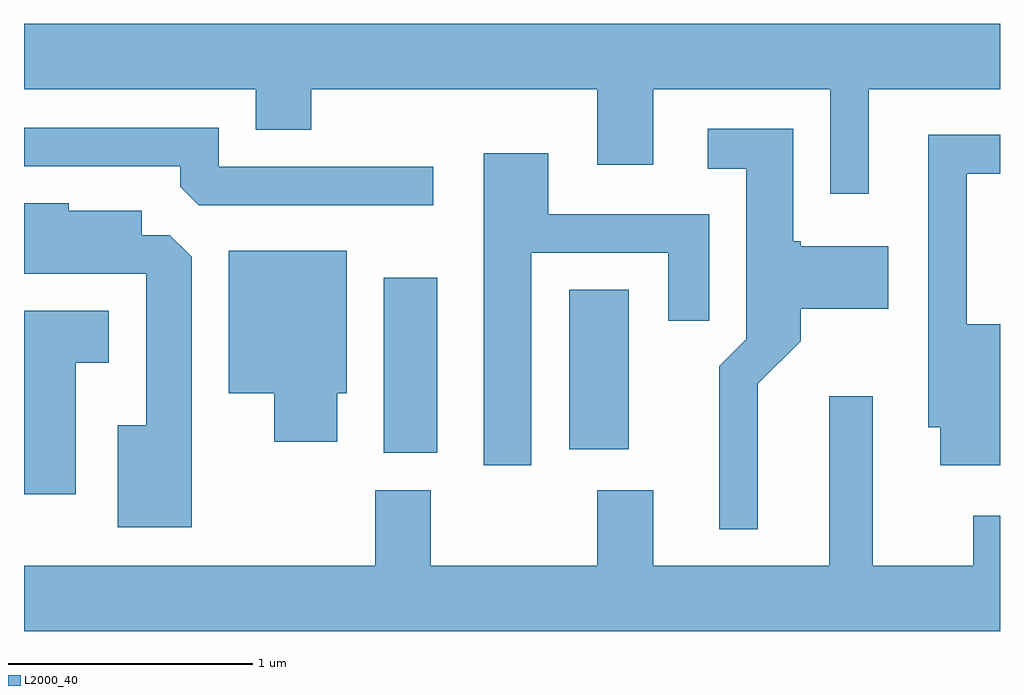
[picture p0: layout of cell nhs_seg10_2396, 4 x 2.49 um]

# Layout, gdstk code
import gdstk
lib = gdstk.Library(unit=1e-6, precision=1e-09)
def R(c, l, rs):  # rectangles x0, y0, x1, y1
    for r in rs: c.add(gdstk.rectangle(r[:2], r[2:], *l))
def P(c, l, *ps):  # polygons
    for p in ps: c.add(gdstk.Polygon(p, *l))
L2000_40 = (2000, 40)

nhs_seg10_2396 = lib.new_cell('nhs_seg10_2396')
R(nhs_seg10_2396, L2000_40, [(257.086,2127.966,257.304,2128.684), (257.846,2127.981,258.089,2128.634)])
P(nhs_seg10_2396, L2000_40, [(259.074,2129.456),(259.611,2129.456),(259.611,2129.724),(255.611,2129.724),(255.611,2129.456),(256.561,2129.456),(256.561,2129.291),(256.789,2129.291),(256.789,2129.456),(257.961,2129.456),(257.961,2129.146),(258.189,2129.146),(258.189,2129.456),(258.916,2129.456),(258.916,2129.028),(259.074,2129.028)],
  [(257.288,2129.139),(256.409,2129.139),(256.409,2129.299),(255.611,2129.299),(255.611,2129.141),(256.251,2129.141),(256.251,2129.057),(256.327,2128.981),(257.288,2128.981)],
  [(258.619,2128.249),(258.794,2128.424),(258.794,2128.556),(259.154,2128.556),(259.154,2128.814),(258.794,2128.814),(258.794,2128.834),(258.764,2128.834),(258.764,2129.294),(258.413,2129.294),(258.413,2129.131),(258.571,2129.131),(258.571,2128.432),(258.461,2128.322),(258.461,2127.653),(258.619,2127.653)],
  [(259.611,2128.494),(259.474,2128.494),(259.474,2129.111),(259.611,2129.111),(259.611,2129.269),(259.316,2129.269),(259.316,2128.071),(259.366,2128.071),(259.366,2127.916),(259.611,2127.916)],
  [(257.689,2128.786),(258.251,2128.786),(258.251,2128.508),(258.419,2128.508),(258.419,2128.944),(257.759,2128.944),(257.759,2129.194),(257.496,2129.194),(257.496,2127.916),(257.689,2127.916)],
  [(256.299,2128.769),(256.209,2128.859),(256.094,2128.859),(256.094,2128.959),(255.794,2128.959),(255.794,2128.989),(255.611,2128.989),(255.611,2128.701),(256.111,2128.701),(256.111,2128.079),(255.996,2128.079),(255.996,2127.661),(256.299,2127.661)],
  [(256.894,2128.211),(256.934,2128.211),(256.934,2128.794),(256.451,2128.794),(256.451,2128.211),(256.636,2128.211),(256.636,2128.011),(256.894,2128.011)],
  [(255.824,2128.336),(255.959,2128.336),(255.959,2128.549),(255.611,2128.549),(255.611,2127.796),(255.824,2127.796)],
  [(259.611,2127.709),(259.501,2127.709),(259.501,2127.504),(259.089,2127.504),(259.089,2128.199),(258.911,2128.199),(258.911,2127.504),(258.189,2127.504),(258.189,2127.814),(257.961,2127.814),(257.961,2127.504),(257.279,2127.504),(257.279,2127.814),(257.051,2127.814),(257.051,2127.504),(255.611,2127.504),(255.611,2127.236),(259.611,2127.236)])

lib.write_gds('nhs_seg10_2396.gds')
